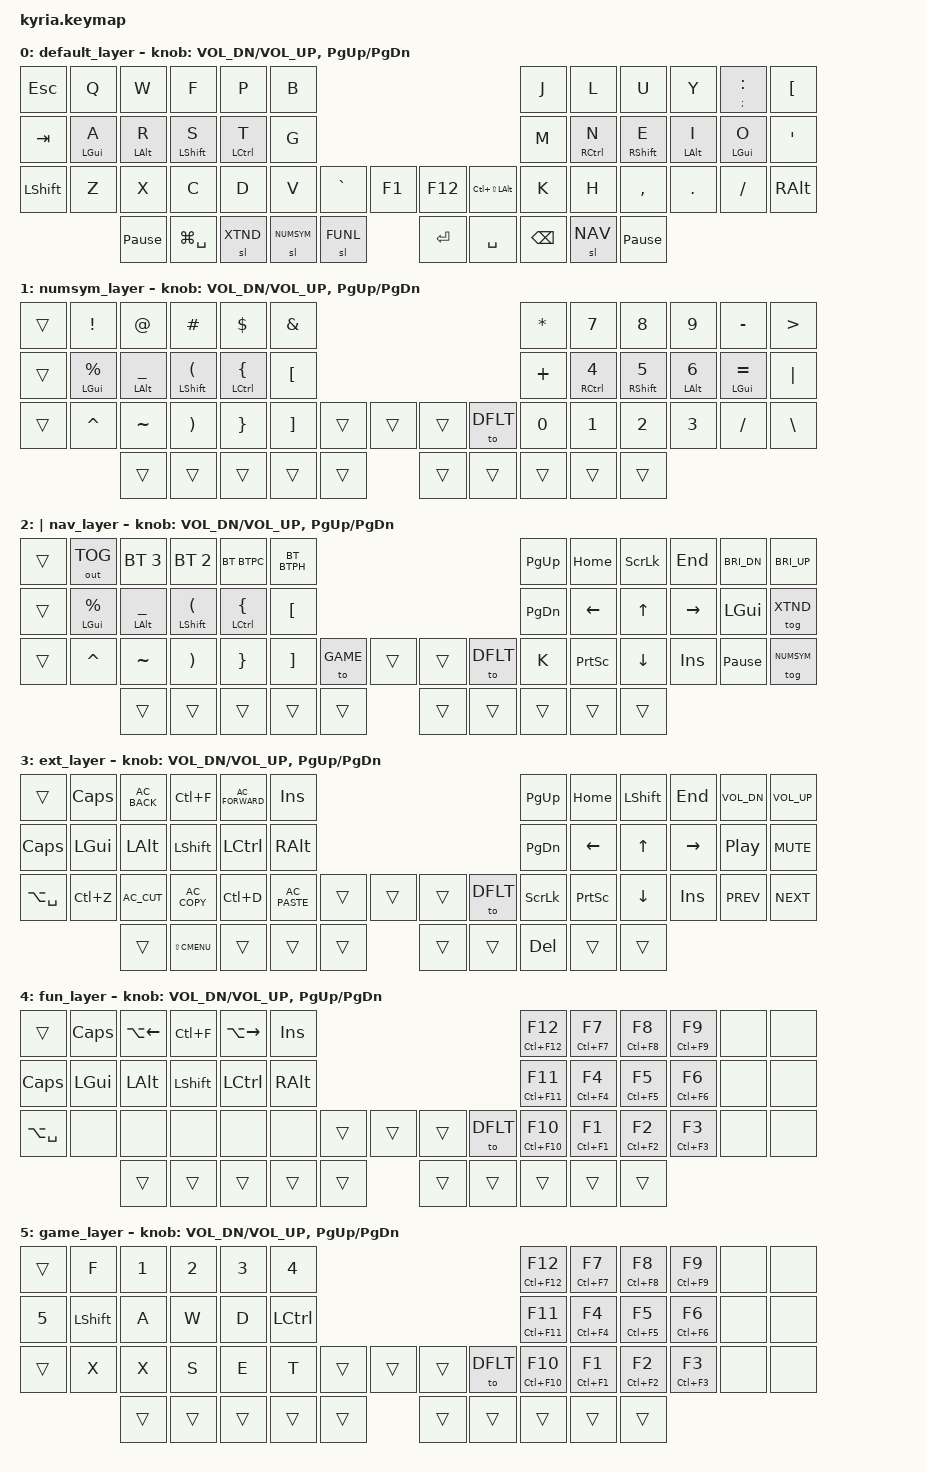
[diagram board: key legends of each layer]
/*
 * Copyright (c) 2021 The ZMK Contributors
 *
 * SPDX-License-Identifier: MIT
 */

#include <behaviors.dtsi>
#include <dt-bindings/zmk/keys.h>
#include <dt-bindings/zmk/bt.h>
#include <dt-bindings/zmk/outputs.h>

#define DFLT    0
#define NUMSYM  1
#define NAV     2
#define XTND    3
#define FUNL    4
#define GAME    5

#define BTPC 0
#define BTPH 1

&kscan0 {
	col-gpios
		= <&pro_micro 21 GPIO_ACTIVE_HIGH>
		, <&pro_micro 20 GPIO_ACTIVE_HIGH>
		, <&pro_micro 19 GPIO_ACTIVE_HIGH>
		, <&gpio1 1 GPIO_ACTIVE_HIGH>
		, <&pro_micro 15 GPIO_ACTIVE_HIGH>
		, <&pro_micro 14 GPIO_ACTIVE_HIGH>
		, <&pro_micro 16 GPIO_ACTIVE_HIGH>
		, <&pro_micro 10 GPIO_ACTIVE_HIGH>
		;
};

&kscan1 {
	col-gpios
		= <&pro_micro 21 GPIO_ACTIVE_HIGH>
		, <&pro_micro 20 GPIO_ACTIVE_HIGH>
		, <&pro_micro 19 GPIO_ACTIVE_HIGH>
		, <&gpio1 1 GPIO_ACTIVE_HIGH>
		, <&pro_micro 15 GPIO_ACTIVE_HIGH>
		, <&pro_micro 14 GPIO_ACTIVE_HIGH>
		, <&pro_micro 16 GPIO_ACTIVE_HIGH>
		, <&pro_micro 10 GPIO_ACTIVE_HIGH>
		;
}


&left_encoder   { steps = <30>; };
&right_encoder  { steps = <30>; };

&caps_word {
    continue-list = <UNDERSCORE BACKSPACE>;
};

&sk {
    quick-release;
};

/ {
    behaviors {
        /omit-if-no-ref/ hm: homerow_mods {
            compatible = "zmk,behavior-hold-tap";
            label = "HOMEROW_MODS";
            #binding-cells = <2>;
            tapping-term-ms = <175>;
            quick_tap_ms = <0>;
            require-prior-idle-ms = <100>;
            flavor = "tap-preferred";
            bindings = <&kp>, <&kp>;
        };

        /omit-if-no-ref/ hms: homerow_mods_slow {
            compatible = "zmk,behavior-hold-tap";
            label = "HOMEROW_MODS_SLOW";
            #binding-cells = <2>;
            tapping-term-ms = <200>;
            quick_tap_ms = <0>;
            require-prior-idle-ms = <100>;
            flavor = "tap-preferred";
            bindings = <&kp>, <&kp>;
        };

        /omit-if-no-ref/ smart_shift: smart_shift {
            label = "SMART_SHIFT";
            compatible = "zmk,behavior-mod-morph";
            bindings = <&sk RSHFT>, <&caps_word>;
            mods = <(MOD_RSFT)>;
            #binding-cells = <0>;
        };
        /omit-if-no-ref/ col_semi: colon_semicolon {
            compatible = "zmk,behavior-mod-morph";
            label = "COLON_SEMICOLON";
            #binding-cells = <0>;
            bindings = <&kp COLON>, <&kp SEMI>;
            mods = <(MOD_LSFT|MOD_RSFT)>;
        };
    };

    combos {
        compatible = "zmk,combos";
        combo_bt_clr {
            layers = <3>;
            timeout-ms = <50>;
            key-positions = <0 1>;
            bindings = <&bt BT_CLR>;
        };
        combo_left_smart_shift {
            timeout-ms = <50>;
            key-positions = <3 4>;
            bindings = <&smart_shift>;
        };
        combo_right_smart_shift {
            timeout-ms = <50>;
            key-positions = <7 8>;
            bindings = <&smart_shift>;
        };
    };

    keymap {
        compatible = "zmk,keymap";

        default_layer {
// NOTES:
// F1 to bring up command runner (KRunner)
// F12 to bring up terminal emulator (Kitty)
// Home row mods: GASC
// Pause to mute/unmute microphone
// RALT as Compose key
// ╭───────┬──────┬───────┬──────┬──────┬───╮
// | ESC     Q      W       F      P      B |                                            |  J   |  L     |  U    |  Y    |  :    |   [  |
// | TAB     A(G)   R(A)    S(S)   T(C)   G |───────┬────────╮                                         |  M   |  N(C)  |  E(S) |  I(A) |  O(G) |   '  |
// | SHIFT   Z      X       C      D      V | GRAV  | F1     |         ||     ||  F12  |  MEH    |  K   |  H     |  ,    |  .    |  /    | RALT |
//           | Pause | LGUI(SPACE) | slXTND | slNUM | slFUNL |          ||  RET  |  SPACE  | BSPC |  slNAV | Pause |
            bindings = <
    &kp ESC    &kp Q        &kp W       &kp F        &kp P        &kp B                                                       &kp J     &kp L        &kp U        &kp Y       &hm SEMI COLON   &kp LBKT
    &kp TAB    &hms LGUI A  &hm LALT R  &hm LSHFT S  &hm LCTRL T  &kp G                                                       &kp M     &hm RCTRL N  &hm RSHFT E  &hm LALT I  &hms LGUI O  &kp SQT
    &kp LSHFT  &kp Z        &kp X       &kp C        &kp D        &kp V     &kp GRAVE   &kp F1     &kp F12  &kp LC(LS(LALT))  &kp K     &kp H        &kp COMMA    &kp DOT     &kp FSLH    &kp RALT
                                  &kp PAUSE_BREAK  &kp LG(SPACE)  &sl XTND  &sl NUMSYM  &sl FUNL   &kp RET         &kp SPACE  &kp BSPC  &sl NAV  &kp PAUSE_BREAK
            >;

            sensor-bindings = <&inc_dec_kp C_VOL_DN C_VOL_UP &inc_dec_kp PG_UP PG_DN>;
        };

        numsym_layer {
// ---------------------------------------------------------------------------------------------------------------------------------------------;
// |  ESC  |  !  |  @  |  #    |  $    |  &     |                                             |   *  |  7     |  8    |  9    |   -      |   >  |
// |  TAB  |  %  |  _  |  (    |  {    |  [     |                                             |   +  |  4     |  5    |  6    |   =      |   |  |
// | SHIFT |  ^  |  ~  |  )    |  }    |  ]     |  GRAV  |    F1   ||     ||  F12  | &to DFLT |   0  |  1     |  2    |  3    |   /      |   \  |
//                     | Pause |  Menu | slXTND | slNUM  |  slFUNL ||     ||  RET  |  SPACE   | BSPC |  moNAV | Pause |
            bindings = <
    &trans  &kp EXCL       &kp AT          &kp HASH        &kp DLLR        &kp AMPS                                     &kp STAR   &kp N7        &kp N8        &kp N9       &kp MINUS       &kp GT
    &trans  &hms LGUI PRCNT  &hm LALT UNDER  &hm LSHFT LPAR  &hm LCTRL LBRC  &kp LBKT                                     &kp PLUS   &hm RCTRL N4  &hm RSHFT N5  &hm LALT N6  &hms LGUI EQUAL  &kp PIPE
    &trans  &kp CARET       &kp TILDE        &kp RPAR        &kp RBRC        &kp RBKT  &trans &trans     &trans &to DFLT  &kp N0     &kp N1        &kp N2        &kp N3       &kp FSLH        &kp BSLH
                                                             &trans  &trans  &trans    &trans &trans     &trans   &trans  &trans     &trans  &trans
            >;

            sensor-bindings = <&inc_dec_kp C_VOL_DN C_VOL_UP &inc_dec_kp PG_UP PG_DN>;
        };|

        nav_layer {
// -------------------------------------------------------------------------------------------------------------------------------------------------------------;
// | ESC    | BT_OUT_t | BT_SEL 3 | BT_SEL 2 |  BTPC  |  BTPH  |                                                  | PG_UP | HOME  | SCLC  |  END  | BRI-  | BRI+    |
// |  TAB   |   F2     |    F3    |    F4    |  F5    |  F6    |                                                  | PG_DN | LEFT  |  UP   | RIGHT | LGUI  | tog ext |
// | SHIFT  |   F7     |    F8    |    F9    |  F10   |  F11   |  &to GAME  |   F1    ||     ||  F12   | &to DFLT | PRTSC | SCLC  | DOWN  | INS   | Pause | tog num |
//                                |  Pause   |  Menu  | slXTND | slNUM      | slFUNL  ||     ||  RET   |  SPACE   | BSPC  | moNAV | Pause |
            bindings = <
    &trans   &out OUT_TOG    &bt BT_SEL 3     &bt BT_SEL 2    &bt BT_SEL BTPC  &bt BT_SEL BTPH                                 &kp PG_UP  &kp HOME   &kp SLCK  &kp END    &kp C_BRI_DN     &kp C_BRI_UP
    &trans   &hms LGUI PRCNT &hm LALT UNDER   &hm LSHFT LPAR  &hm LCTRL LBRC   &kp LBKT                                        &kp PG_DN  &kp LEFT   &kp UP    &kp RIGHT  &kp LGUI         &tog XTND
    &trans   &kp CARET       &kp TILDE        &kp RPAR        &kp RBRC         &kp RBKT  &to GAME &trans     &trans  &to DFLT  &kp K      &kp PSCRN  &kp DOWN  &kp INS    &kp PAUSE_BREAK  &tog NUMSYM
                                                     &trans   &trans       &trans        &trans &trans       &trans  &trans    &trans  &trans  &trans
            >;

            sensor-bindings = <&inc_dec_kp C_VOL_DN C_VOL_UP &inc_dec_kp PG_UP PG_DN>;
        };

        ext_layer {
// ----------------------------------------------------------------------------------------------------------------------------------------------------------;
// | ESC      | CAPS | back | find  | frwd  | INS  |                                             | PG_UP | HOME  | SHFT  |  END  | VOL+  | VOL-  |
// | CAPS_WRD | LGUI | LALT | LSHFT | LCTRL | RALT |                                             | PG_DN | LEFT  |  UP   | RIGHT | Pl/Pa | Mute  |
// | A(SPACE) | ^Z   | CUT  | COPY  | ^D    | PASTE|   GRAV |   F1    ||     ||  F12  | &to DFLT | PRTSC | SCLC  | DOWN  | INS   | Prev  | Next  |
//                          | Pause |LS+K_CMENU |slXTND | slNUM | slFUNL  ||     ||  RET  |  SPACE   |  DEL  | moNAV | Pause |
            bindings = <
    &trans         &kp CAPS   &kp C_AC_BACK  &kp LC(F)  &kp C_AC_FORWARD  &kp INS                                  &kp PG_UP  &kp HOME   &kp LSHFT  &kp END    &kp C_VOL_DN     &kp C_VOL_UP
    &kp CAPS       &kp LGUI   &kp LALT      &kp LSHFT  &kp LCTRL      &kp RALT                                     &kp PG_DN  &kp LEFT   &kp UP     &kp RIGHT  &kp C_PP         &kp C_MUTE
    &kp LA(SPACE)  &kp LC(Z)  &kp C_AC_CUT  &kp C_AC_COPY  &kp LC(D)  &kp C_AC_PASTE  &trans &trans   &trans  &to DFLT  &kp SLCK   &kp PSCRN  &kp DOWN   &kp INS    &kp C_PREV       &kp C_NEXT
                                              &trans   &kp LS(K_CMENU)   &trans     &trans &trans   &trans    &trans  &kp DEL    &trans  &trans
            >;

            sensor-bindings = <&inc_dec_kp C_VOL_DN C_VOL_UP &inc_dec_kp PG_UP PG_DN>;
        };

        fun_layer {
            bindings = <
    &trans         &kp CAPS   &kp LA(LEFT)  &kp LC(F)  &kp LA(RIGHT)  &kp INS                                    &hm LC(F12) F12   &hm LC(F7) F7   &hm LC(F8) F8   &hm LC(F9) F9   &none   &none
    &kp CAPS       &kp LGUI   &kp LALT      &kp LSHFT  &kp LCTRL      &kp RALT                                   &hm LC(F11) F11   &hm LC(F4) F4   &hm LC(F5) F5   &hm LC(F6) F6   &none   &none
    &kp LA(SPACE)  &none      &none         &none      &none          &none      &trans &trans  &trans &to DFLT  &hm LC(F10) F10   &hm LC(F1) F1   &hm LC(F2) F2   &hm LC(F3) F3   &none   &none
                                            &trans     &trans         &trans     &trans &trans  &trans   &trans  &trans            &trans          &trans
            >;

            sensor-bindings = <&inc_dec_kp C_VOL_DN C_VOL_UP &inc_dec_kp PG_UP PG_DN>;
        };

        game_layer {
            bindings = <
    &trans  &kp F      &kp N1  &kp N2  &kp N3  &kp N4                                     &hm LC(F12) F12   &hm LC(F7) F7   &hm LC(F8) F8   &hm LC(F9) F9   &none   &none
    &kp N5  &kp LSHFT  &kp A   &kp W   &kp D   &kp LCTRL                                    &hm LC(F11) F11   &hm LC(F4) F4   &hm LC(F5) F5   &hm LC(F6) F6   &none   &none
    &trans  &kp X      &kp X   &kp S   &kp E   &kp T       &trans &trans  &trans &to DFLT  &hm LC(F10) F10   &hm LC(F1) F1   &hm LC(F2) F2   &hm LC(F3) F3   &none   &none
                                       &trans     &trans         &trans     &trans &trans  &trans   &trans  &trans            &trans          &trans

            >;
            sensor-bindings = <&inc_dec_kp C_VOL_DN C_VOL_UP &inc_dec_kp PG_UP PG_DN>;
        };
    };
};
